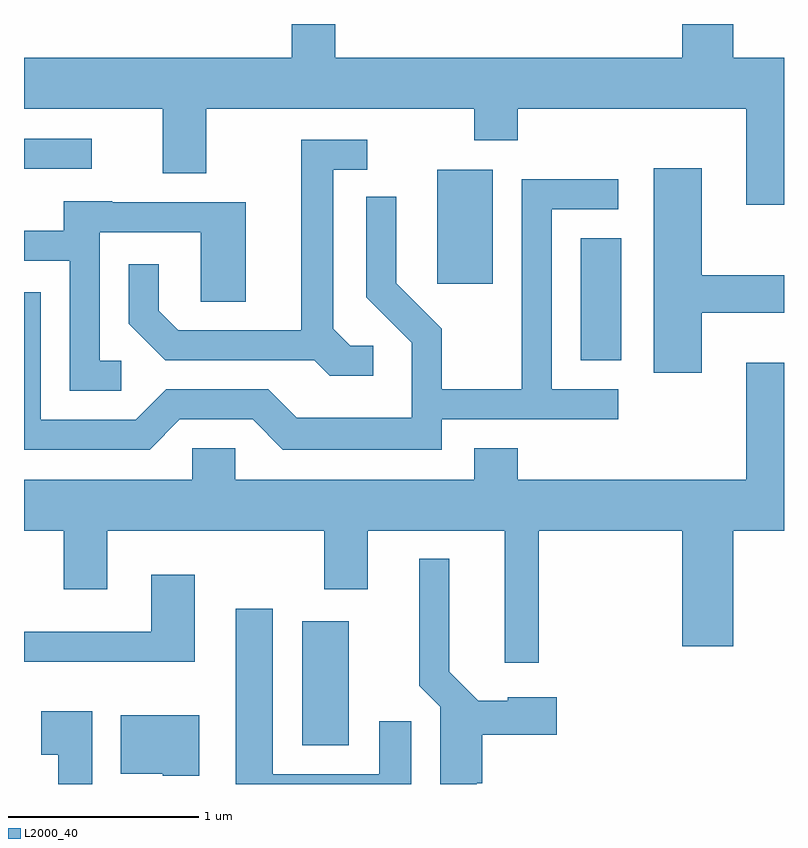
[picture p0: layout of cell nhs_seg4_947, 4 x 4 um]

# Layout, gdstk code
import gdstk
lib = gdstk.Library(unit=1e-6, precision=1e-09)
def R(c, l, rs):  # rectangles x0, y0, x1, y1
    for r in rs: c.add(gdstk.rectangle(r[:2], r[2:], *l))
def P(c, l, *ps):  # polygons
    for p in ps: c.add(gdstk.Polygon(p, *l))
L2000_40 = (2000, 40)

nhs_seg4_947 = lib.new_cell('nhs_seg4_947')
R(nhs_seg4_947, L2000_40, [(213.076,1380.186,213.319,1380.839), (214.541,1382.211,214.754,1382.854), (213.786,1382.616,214.079,1383.214), (211.611,1383.221,211.968,1383.379)])
P(nhs_seg4_947, L2000_40, [(215.611,1383.804),(215.344,1383.804),(215.344,1383.982),(215.076,1383.982),(215.076,1383.804),(213.249,1383.804),(213.249,1383.982),(213.021,1383.982),(213.021,1383.804),(211.611,1383.804),(211.611,1383.536),(212.341,1383.536),(212.341,1383.196),(212.569,1383.196),(212.569,1383.536),(213.981,1383.536),(213.981,1383.371),(214.209,1383.371),(214.209,1383.536),(215.411,1383.536),(215.411,1383.031),(215.611,1383.031)],
  [(213.448,1382.289),(213.327,1382.289),(213.239,1382.377),(213.239,1383.216),(213.418,1383.216),(213.418,1383.374),(213.071,1383.374),(213.071,1382.369),(212.422,1382.369),(212.319,1382.472),(212.319,1382.718),(212.161,1382.718),(212.161,1382.404),(212.354,1382.211),(213.139,1382.211),(213.219,1382.131),(213.448,1382.131)],
  [(215.179,1382.461),(215.611,1382.461),(215.611,1382.659),(215.179,1382.659),(215.179,1383.224),(214.926,1383.224),(214.926,1382.146),(215.179,1382.146)],
  [(212.432,1381.901),(212.814,1381.901),(212.974,1381.741),(213.809,1381.741),(213.809,1381.901),(214.738,1381.901),(214.738,1382.059),(214.389,1382.059),(214.389,1383.006),(214.738,1383.006),(214.738,1383.164),(214.231,1383.164),(214.231,1382.059),(213.809,1382.059),(213.809,1382.377),(213.569,1382.617),(213.569,1383.073),(213.411,1383.073),(213.411,1382.544),(213.651,1382.304),(213.651,1381.909),(213.047,1381.909),(212.897,1382.059),(212.359,1382.059),(212.199,1381.899),(211.699,1381.899),(211.699,1382.569),(211.611,1382.569),(211.611,1381.741),(212.272,1381.741)],
  [(212.123,1382.209),(212.009,1382.209),(212.009,1382.886),(212.541,1382.886),(212.541,1382.521),(212.779,1382.521),(212.779,1383.044),(212.075,1383.044),(212.075,1383.049),(211.821,1383.049),(211.821,1382.894),(211.611,1382.894),(211.611,1382.736),(211.851,1382.736),(211.851,1382.051),(212.123,1382.051)],
  [(214.319,1381.316),(215.076,1381.316),(215.076,1380.706),(215.344,1380.706),(215.344,1381.316),(215.611,1381.316),(215.611,1382.199),(215.411,1382.199),(215.411,1381.584),(214.209,1381.584),(214.209,1381.749),(213.981,1381.749),(213.981,1381.584),(212.724,1381.584),(212.724,1381.749),(212.496,1381.749),(212.496,1381.584),(211.611,1381.584),(211.611,1381.316),(211.821,1381.316),(211.821,1381.006),(212.049,1381.006),(212.049,1381.316),(213.191,1381.316),(213.191,1381.006),(213.419,1381.006),(213.419,1381.316),(214.141,1381.316),(214.141,1380.621),(214.319,1380.621)],
  [(213.994,1379.986),(214.024,1379.986),(214.024,1380.241),(214.414,1380.241),(214.414,1380.439),(214.156,1380.439),(214.156,1380.419),(214.002,1380.419),(213.849,1380.572),(213.849,1381.168),(213.691,1381.168),(213.691,1380.499),(213.801,1380.389),(213.801,1379.982),(213.994,1379.982)],
  [(212.509,1381.084),(212.281,1381.084),(212.281,1380.784),(211.611,1380.784),(211.611,1380.626),(212.509,1380.626)],
  [(213.649,1380.313),(213.481,1380.313),(213.481,1380.034),(212.919,1380.034),(212.919,1380.904),(212.726,1380.904),(212.726,1379.982),(213.649,1379.982)],
  [(211.969,1380.364),(211.701,1380.364),(211.701,1380.136),(211.791,1380.136),(211.791,1379.982),(211.969,1379.982)],
  [(212.534,1380.344),(212.121,1380.344),(212.121,1380.036),(212.34,1380.036),(212.34,1380.026),(212.534,1380.026)])

lib.write_gds('nhs_seg4_947.gds')
